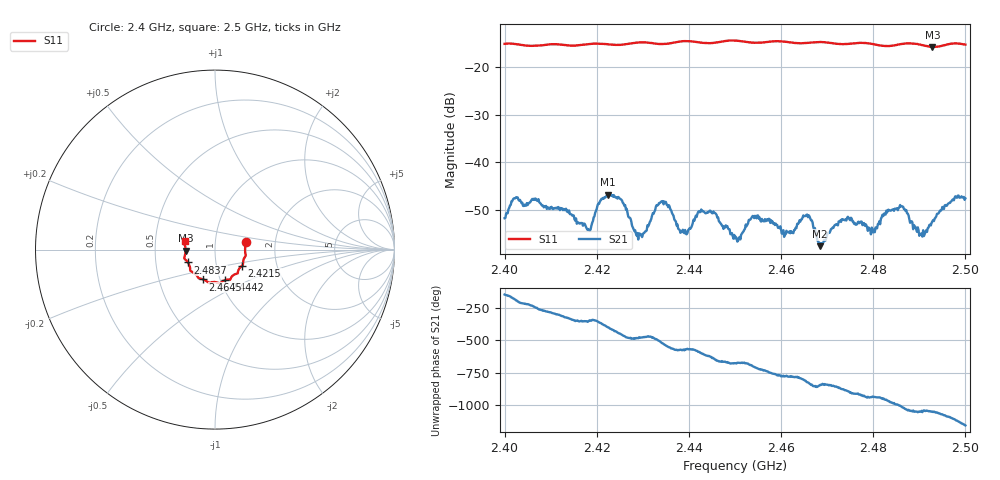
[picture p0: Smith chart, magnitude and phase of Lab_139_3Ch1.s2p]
# Hz S RI R 50
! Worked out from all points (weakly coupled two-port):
!   601 points, 2.4 GHz to 2.5 GHz, reference 50 ohm
!   highest |S21| = -46.76 dB at 2.4225 GHz (marker M1); lowest = -57.6 dB at 2.4685 GHz (marker M2)
!   lowest |S11| = -15.7 dB at 2.4928 GHz (marker M3), VSWR 1.39, Z = 36 - j0.384 ohm
!   |S11| at or under -10 dB: start of sweep to end of sweep
!   S12 and S22 are empty: the file has one direction only
!   S11 on the Smith chart (normalised r, x): 2.4 GHz: 1.41, +0.12; 2.4215 GHz: 1.33, -0.25; 2.4442 GHz: 1.05, -0.37; 2.4645 GHz: 0.83, -0.29; 2.4837 GHz: 0.73, -0.11; 2.5 GHz: 0.71, +0.07
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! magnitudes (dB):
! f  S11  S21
! 2.4 GHz  -15.1  -51.7
! 2.4065 GHz  -15.5  -47.9
! 2.4167 GHz  -15.3  -52.7
! 2.4185 GHz  -15.1  -54.3
! 2.4215 GHz  -15.1  -47.6
! 2.4225 GHz  -15.2  -46.8
! 2.4295 GHz  -14.8  -55.3
! 2.4333 GHz  -15.1  -48.9
! 2.4392 GHz  -14.5  -54.2
! 2.4442 GHz  -15.0  -50.5
! 2.45 GHz  -14.4  -56.0
! 2.454 GHz  -14.9  -51.3
! 2.4612 GHz  -14.7  -54.4
! 2.4645 GHz  -15.0  -52.0
! 2.4667 GHz  -14.8  -52.2
! 2.4685 GHz  -14.7  -57.6
! 2.473 GHz  -15.2  -52.5
! 2.4833 GHz  -15.6  -49.9
! 2.4837 GHz  -15.5  -50.1
! 2.4905 GHz  -15.3  -54.9
! 2.4928 GHz  -15.7  -52.4
! 2.5 GHz  -15.2  -47.6
